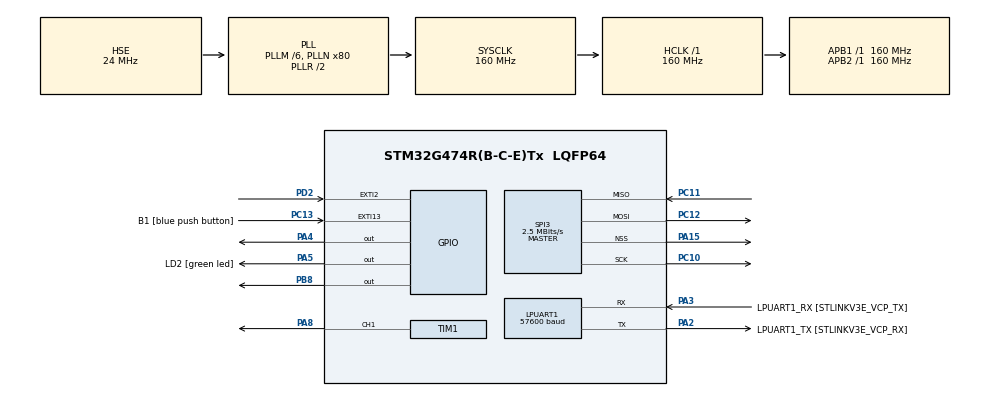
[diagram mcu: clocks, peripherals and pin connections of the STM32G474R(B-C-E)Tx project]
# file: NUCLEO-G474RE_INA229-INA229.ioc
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Dma.Request0=TIM1_CH1
Dma.Request1=SPI3_TX
Dma.Request2=SPI3_RX
Dma.SPI3_RX.2.Direction=DMA_PERIPH_TO_MEMORY
Dma.SPI3_RX.2.EventEnable=DISABLE
Dma.SPI3_RX.2.Instance=DMA1_Channel3
Dma.SPI3_RX.2.MemDataAlignment=DMA_MDATAALIGN_BYTE
Dma.SPI3_RX.2.MemInc=DMA_MINC_ENABLE
Dma.SPI3_RX.2.Mode=DMA_NORMAL
Dma.SPI3_RX.2.PeriphDataAlignment=DMA_PDATAALIGN_BYTE
Dma.SPI3_RX.2.PeriphInc=DMA_PINC_DISABLE
Dma.SPI3_RX.2.Polarity=HAL_DMAMUX_REQ_GEN_RISING
Dma.SPI3_RX.2.Priority=DMA_PRIORITY_HIGH
Dma.SPI3_RX.2.RequestNumber=1
Dma.SPI3_RX.2.SignalID=NONE
Dma.SPI3_RX.2.SyncEnable=DISABLE
Dma.SPI3_RX.2.SyncPolarity=HAL_DMAMUX_SYNC_NO_EVENT
Dma.SPI3_RX.2.SyncRequestNumber=1
Dma.SPI3_RX.2.SyncSignalID=NONE
Dma.SPI3_TX.1.Direction=DMA_MEMORY_TO_PERIPH
Dma.SPI3_TX.1.EventEnable=DISABLE
Dma.SPI3_TX.1.Instance=DMA1_Channel2
Dma.SPI3_TX.1.MemDataAlignment=DMA_MDATAALIGN_BYTE
Dma.SPI3_TX.1.MemInc=DMA_MINC_ENABLE
Dma.SPI3_TX.1.Mode=DMA_NORMAL
Dma.SPI3_TX.1.PeriphDataAlignment=DMA_PDATAALIGN_BYTE
Dma.SPI3_TX.1.PeriphInc=DMA_PINC_DISABLE
Dma.SPI3_TX.1.Polarity=HAL_DMAMUX_REQ_GEN_RISING
Dma.SPI3_TX.1.Priority=DMA_PRIORITY_HIGH
Dma.SPI3_TX.1.RequestNumber=1
Dma.SPI3_TX.1.SignalID=NONE
Dma.SPI3_TX.1.SyncEnable=DISABLE
Dma.SPI3_TX.1.SyncPolarity=HAL_DMAMUX_SYNC_NO_EVENT
Dma.SPI3_TX.1.SyncRequestNumber=1
Dma.SPI3_TX.1.SyncSignalID=NONE
Dma.TIM1_CH1.0.Direction=DMA_PERIPH_TO_MEMORY
Dma.TIM1_CH1.0.EventEnable=DISABLE
Dma.TIM1_CH1.0.Instance=DMA1_Channel1
Dma.TIM1_CH1.0.MemDataAlignment=DMA_MDATAALIGN_HALFWORD
Dma.TIM1_CH1.0.MemInc=DMA_MINC_ENABLE
Dma.TIM1_CH1.0.Mode=DMA_CIRCULAR
Dma.TIM1_CH1.0.PeriphDataAlignment=DMA_PDATAALIGN_HALFWORD
Dma.TIM1_CH1.0.PeriphInc=DMA_PINC_DISABLE
Dma.TIM1_CH1.0.Polarity=HAL_DMAMUX_REQ_GEN_RISING
Dma.TIM1_CH1.0.Priority=DMA_PRIORITY_LOW
Dma.TIM1_CH1.0.RequestNumber=1
Dma.TIM1_CH1.0.SignalID=NONE
Dma.TIM1_CH1.0.SyncEnable=DISABLE
Dma.TIM1_CH1.0.SyncPolarity=HAL_DMAMUX_SYNC_NO_EVENT
Dma.TIM1_CH1.0.SyncRequestNumber=1
Dma.TIM1_CH1.0.SyncSignalID=NONE
LPUART1.BaudRate=57600
LPUART1.WordLength=UART_WORDLENGTH_8B
Mcu.Family=STM32G4
Mcu.Name=STM32G474R(B-C-E)Tx
Mcu.Package=LQFP64
NVIC.DMA1_Channel1_IRQn=true\:0\:0\:false\:false\:true\:false\:true\:true
NVIC.DMA1_Channel2_IRQn=true\:0\:0\:false\:false\:true\:false\:true\:true
NVIC.DMA1_Channel3_IRQn=true\:0\:0\:false\:false\:true\:false\:true\:true
NVIC.EXTI15_10_IRQn=true\:0\:0\:false\:false\:true\:true\:true\:true
NVIC.PriorityGroup=NVIC_PRIORITYGROUP_4
PA13.GPIO_Label=T_SWDIO
PA13.Mode=Trace_Asynchronous_SW
PA13.Signal=SYS_JTMS-SWDIO
PA14.GPIO_Label=T_SWCLK
PA14.Mode=Trace_Asynchronous_SW
PA14.Signal=SYS_JTCK-SWCLK
PA15.Mode=NSS_Signal_Hard_Output
PA15.Signal=SPI3_NSS
PA2.GPIO_Label=LPUART1_TX [STLINKV3E_VCP_RX]
PA2.Mode=Asynchronous
PA2.Signal=LPUART1_TX
PA3.GPIO_Label=LPUART1_RX [STLINKV3E_VCP_TX]
PA3.Mode=Asynchronous
PA3.Signal=LPUART1_RX
PA4.Signal=GPIO_Output
PA5.GPIO_Label=LD2 [green led]
PA5.Signal=GPIO_Output
PA8.Signal=S_TIM1_CH1
PB3.GPIO_Label=T_SWO
PB3.Mode=Trace_Asynchronous_SW
PB3.Signal=SYS_JTDO-SWO
PB8-BOOT0.Signal=GPIO_Output
PC10.Mode=Full_Duplex_Master
PC10.Signal=SPI3_SCK
PC11.Mode=Full_Duplex_Master
PC11.Signal=SPI3_MISO
PC12.Mode=Full_Duplex_Master
PC12.Signal=SPI3_MOSI
PC13.GPIO_Label=B1 [blue push button]
PC13.Signal=GPXTI13
PC14-OSC32_IN.Mode=LSE-External-Oscillator
PC14-OSC32_IN.Signal=RCC_OSC32_IN
PC15-OSC32_OUT.Mode=LSE-External-Oscillator
PC15-OSC32_OUT.Signal=RCC_OSC32_OUT
PD2.GPIO_ModeDefaultEXTI=GPIO_MODE_IT_RISING_FALLING
PD2.Signal=GPXTI2
PF0-OSC_IN.Mode=HSE-External-Oscillator
PF0-OSC_IN.Signal=RCC_OSC_IN
PF1-OSC_OUT.Mode=HSE-External-Oscillator
PF1-OSC_OUT.Signal=RCC_OSC_OUT
ProjectManager.HeapSize=0x200
ProjectManager.StackSize=0x400
ProjectManager.TargetToolchain=STM32CubeIDE
RCC.ADC12Freq_Value=160000000
RCC.ADC345Freq_Value=160000000
RCC.AHBFreq_Value=160000000
RCC.APB1Freq_Value=160000000
RCC.APB1TimFreq_Value=160000000
RCC.APB2Freq_Value=160000000
RCC.APB2TimFreq_Value=160000000
RCC.CortexFreq_Value=160000000
RCC.EXTERNAL_CLOCK_VALUE=12288000
RCC.HCLKFreq_Value=160000000
RCC.HSE_VALUE=24000000
RCC.HSI48_VALUE=48000000
RCC.HSI_VALUE=16000000
RCC.PLLM=RCC_PLLM_DIV6
RCC.PLLN=80
RCC.PLLSourceVirtual=RCC_PLLSOURCE_HSE
RCC.RTCClockSelection=RCC_RTCCLKSOURCE_LSE
RCC.SYSCLKFreq_VALUE=160000000
RCC.SYSCLKSource=RCC_SYSCLKSOURCE_PLLCLK
RCC.USBFreq_Value=160000000
RCC.VCOOutputFreq_Value=320000000
SH.S_TIM1_CH1.0=TIM1_CH1,PWM Generation1 CH1
SPI3.BaudRatePrescaler=SPI_BAUDRATEPRESCALER_64
SPI3.CLKPolarity=SPI_POLARITY_HIGH
SPI3.CalculateBaudRate=2.5 MBits/s
SPI3.DataSize=SPI_DATASIZE_8BIT
SPI3.Direction=SPI_DIRECTION_2LINES
SPI3.Mode=SPI_MODE_MASTER
SPI3.NSSPMode=SPI_NSS_PULSE_DISABLE
SPI3.VirtualNSS=VM_NSSHARD
SPI3.VirtualType=VM_MASTER
TIM1.Channel-PWM\ Generation1\ CH1=TIM_CHANNEL_1
TIM1.PeriodNoDither=1000-1
TIM1.Prescaler=16-1
VP_SYS_VS_DBSignals.Mode=DisableDeadBatterySignals
board=NUCLEO-G474RE

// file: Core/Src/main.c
/* USER CODE BEGIN Header */
/**
 ******************************************************************************
 * @file           : main.c
 * @brief          : Main program body
 ******************************************************************************
 * @attention
 *
 * Copyright (c) 2022 STMicroelectronics.
 * All rights reserved.
 *
 * This software is licensed under terms that can be found in the LICENSE file
 * in the root directory of this software component.
 * If no LICENSE file comes with this software, it is provided AS-IS.
 *
 ******************************************************************************
 */
/* USER CODE END Header */
#include "main.h"

/* USER CODE BEGIN Includes */

#include "ina229.h"
#include "VT_INA229.h"
#include "VT_INA239.h"
#include <stdio.h>

/* USER CODE END Includes */

 UART_HandleTypeDef hlpuart1;

SPI_HandleTypeDef hspi3;
DMA_HandleTypeDef hdma_spi3_tx;
DMA_HandleTypeDef hdma_spi3_rx;

TIM_HandleTypeDef htim1;
DMA_HandleTypeDef hdma_tim1_ch1;

/* USER CODE BEGIN PV */

/* Buffer used for transmission */
uint8_t aTxBuffer[21];

/* Buffer used for reception */
uint8_t aRxBuffer[21];

// for 0V - 160V variable output PWM
volatile uint16_t duty_cycle = 50;

// push button
uint8_t button_pressed = 0;

// SPI transmit data
extern uint8_t INA229_msg_lenght_cntr;
extern uint8_t INA229_send_packet[100], INA229_send_packet_mirror[100];
extern uint8_t INA229_recv_packet[100], INA229_recv_packet_mirror[100];

extern uint8_t INA239_msg_lenght_cntr;
extern uint8_t INA239_send_packet[100], INA239_send_packet_mirror[100];
extern uint8_t INA239_recv_packet[100], INA239_recv_packet_mirror[100];

/* USER CODE END PV */

void SystemClock_Config(void);
static void MX_GPIO_Init(void);
static void MX_LPUART1_UART_Init(void);
static void MX_DMA_Init(void);
static void MX_SPI3_Init(void);
static void MX_TIM1_Init(void);

int main(void)
{

  /* MCU Configuration--------------------------------------------------------*/

  /* Reset of all peripherals, Initializes the Flash interface and the Systick. */
  HAL_Init();

  /* Configure the system clock */
  SystemClock_Config();

  /* Initialize all configured peripherals */
  MX_GPIO_Init();
  MX_LPUART1_UART_Init();
  MX_DMA_Init();
  MX_SPI3_Init();
  MX_TIM1_Init();
  /* USER CODE BEGIN 2 */

	printf("Starting >> NUCLEO-G474RE_INA239_INA229 \n");

	// Opto duty cycle by DMA
	duty_cycle = 100; // div by 10
	if (HAL_TIM_PWM_Start_DMA(&htim1, TIM_CHANNEL_1, (uint32_t *) &duty_cycle, 1) != HAL_OK)
	{
		/* PWM Generation Error */
		while(1)
		{
			HAL_Delay(100);
			HAL_GPIO_TogglePin(GPIOA, GPIO_PIN_5);
		}
	}

	// reset everything
	//	for (uint8_t cntr = 0; cntr < sizeof(INA229_send_packet); cntr++)
	//	{
	//		INA229_send_packet[cntr] = 0xff;
	//		INA229_send_packet_mirror[cntr] = 0;
	//		INA229_recv_packet_mirror[cntr] = 0;
	//		//		printf("INA229_send_packet[%d] = %x \n", cntr , INA229_send_packet[cntr]);
	//	}
	for (uint8_t cntr = 0; cntr < sizeof(INA239_send_packet); cntr++)
	{
		INA239_send_packet[cntr] = 0xff;
		INA239_send_packet_mirror[cntr] = 0;
		INA239_recv_packet_mirror[cntr] = 0;
		//		printf("INA239_send_packet[%d] = %x \n", cntr , INA239_send_packet[cntr]);
	}

	/* Wait for User push-button press before starting the Communication */
	while (!button_pressed)
	{
		HAL_GPIO_TogglePin(GPIOA, GPIO_PIN_5);
		HAL_Delay(100);
	}
	button_pressed = 0; // reset button variable so can be used again

	// reset msg cntr before constructing the message
	//	INA229_msg_lenght_cntr = 0;
	//	VT_INA229_ReadReg(INA229_REG_CONFIG);
	//	VT_INA229_ReadReg(INA229_REG_ADC_CONFIG);
	//	VT_INA229_ReadReg(INA229_REG_SHUNT_CAL);
	//	VT_INA229_ReadReg(INA229_REG_SHUNT_TEMPCO);
	//	VT_INA229_ReadReg(INA229_REG_VSHUNT);
	//	VT_INA229_ReadReg(INA229_REG_VBUS);
	//	VT_INA229_ReadReg(INA229_REG_DIETEMP);
	//	VT_INA229_ReadReg(INA229_REG_CURRENT);
	//	VT_INA229_ReadReg(INA229_REG_POWER);
	//	VT_INA229_ReadReg(INA229_REG_ENERGY);
	//	VT_INA229_ReadReg(INA229_REG_CHARGE);
	//	VT_INA229_ReadReg(INA229_REG_DIAG_ALRT);
	//	VT_INA229_ReadReg(INA229_REG_SOVL);
	//	VT_INA229_ReadReg(INA229_REG_SUVL);
	//	VT_INA229_ReadReg(INA229_REG_BOVL);
	//	VT_INA229_ReadReg(INA229_REG_BUVL);
	//	VT_INA229_ReadReg(INA229_REG_TEMP_LIMIT);
	//	VT_INA229_ReadReg(INA229_REG_PWR_LIMIT);
	//	VT_INA229_ReadReg(INA229_REG_MANUFACTURER_ID);
	//	VT_INA229_ReadReg(INA229_REG_DEVICE_ID);

	// reset msg cntr before constructing the message
	INA239_msg_lenght_cntr = 0;
	VT_INA239_ReadReg(INA239_REG_CONFIG);
	VT_INA239_ReadReg(INA239_REG_ADC_CONFIG);
	VT_INA239_ReadReg(INA239_REG_SHUNT_CAL);
	VT_INA239_ReadReg(INA239_REG_VSHUNT);
	VT_INA239_ReadReg(INA239_REG_VBUS);
	VT_INA239_ReadReg(INA239_REG_DIETEMP);
	VT_INA239_ReadReg(INA239_REG_CURRENT);
	VT_INA239_ReadReg(INA239_REG_POWER);
	VT_INA239_ReadReg(INA239_REG_DIAG_ALRT);
	VT_INA239_ReadReg(INA239_REG_SOVL);
	VT_INA239_ReadReg(INA239_REG_SUVL);
	VT_INA239_ReadReg(INA239_REG_BOVL);
	VT_INA239_ReadReg(INA239_REG_BUVL);
	VT_INA239_ReadReg(INA239_REG_TEMP_LIMIT);
	VT_INA239_ReadReg(INA239_REG_PWR_LIMIT);
	VT_INA239_ReadReg(INA239_REG_MANUFACTURER_ID);
	VT_INA239_ReadReg(INA239_REG_DEVICE_ID);

	for (uint8_t cntr = 0; cntr < INA239_msg_lenght_cntr; cntr++)
	{
		printf("INA239_send_packet[%d] = %x \n", cntr , INA239_send_packet[cntr]);
	}

	// SPI DMA TX-RX
	switch (HAL_SPI_TransmitReceive_DMA(&hspi3, (uint8_t*) INA239_send_packet, (uint8_t*) INA239_recv_packet, INA239_msg_lenght_cntr - 1)) {
	case HAL_OK:
		/* Communication is completed ___________________________________________ */
		break;

	case HAL_TIMEOUT:
		/* An Error Occur ______________________________________________________ */
		printf("SPI HAL_TIMEOUT \n");
	case HAL_ERROR:
		/* Call Timeout Handler */
		printf("SPI HAL_ERROR \n");
		Error_Handler();
		break;
	default:
		break;
	}

	HAL_Delay(5);

	printf("Ending >> NUCLEO-G474RE_INA239_INA229 \n");

  /* USER CODE END 2 */

  /* Infinite loop */
  /* USER CODE BEGIN WHILE */
	while (1) {
		HAL_GPIO_TogglePin(GPIOA, GPIO_PIN_5);
		HAL_Delay(20);
    /* USER CODE END WHILE */

	}
}

void SystemClock_Config(void)
{
  RCC_OscInitTypeDef RCC_OscInitStruct = {0};
  RCC_ClkInitTypeDef RCC_ClkInitStruct = {0};

  /** Configure the main internal regulator output voltage
  */
  HAL_PWREx_ControlVoltageScaling(PWR_REGULATOR_VOLTAGE_SCALE1_BOOST);

  /** Initializes the RCC Oscillators according to the specified parameters
  * in the RCC_OscInitTypeDef structure.
  */
  RCC_OscInitStruct.OscillatorType = RCC_OSCILLATORTYPE_HSE;
  RCC_OscInitStruct.HSEState = RCC_HSE_ON;
  RCC_OscInitStruct.PLL.PLLState = RCC_PLL_ON;
  RCC_OscInitStruct.PLL.PLLSource = RCC_PLLSOURCE_HSE;
  RCC_OscInitStruct.PLL.PLLM = RCC_PLLM_DIV6;
  RCC_OscInitStruct.PLL.PLLN = 80;
  RCC_OscInitStruct.PLL.PLLP = RCC_PLLP_DIV2;
  RCC_OscInitStruct.PLL.PLLQ = RCC_PLLQ_DIV2;
  RCC_OscInitStruct.PLL.PLLR = RCC_PLLR_DIV2;
  if (HAL_RCC_OscConfig(&RCC_OscInitStruct) != HAL_OK)
  {
    Error_Handler();
  }

  /** Initializes the CPU, AHB and APB buses clocks
  */
  RCC_ClkInitStruct.ClockType = RCC_CLOCKTYPE_HCLK|RCC_CLOCKTYPE_SYSCLK
                              |RCC_CLOCKTYPE_PCLK1|RCC_CLOCKTYPE_PCLK2;
  RCC_ClkInitStruct.SYSCLKSource = RCC_SYSCLKSOURCE_PLLCLK;
  RCC_ClkInitStruct.AHBCLKDivider = RCC_SYSCLK_DIV1;
  RCC_ClkInitStruct.APB1CLKDivider = RCC_HCLK_DIV1;
  RCC_ClkInitStruct.APB2CLKDivider = RCC_HCLK_DIV1;

  if (HAL_RCC_ClockConfig(&RCC_ClkInitStruct, FLASH_LATENCY_4) != HAL_OK)
  {
    Error_Handler();
  }
}

static void MX_LPUART1_UART_Init(void)
{

  hlpuart1.Instance = LPUART1;
  hlpuart1.Init.BaudRate = 57600;
  hlpuart1.Init.WordLength = UART_WORDLENGTH_8B;
  hlpuart1.Init.StopBits = UART_STOPBITS_1;
  hlpuart1.Init.Parity = UART_PARITY_NONE;
  hlpuart1.Init.Mode = UART_MODE_TX_RX;
  hlpuart1.Init.HwFlowCtl = UART_HWCONTROL_NONE;
  hlpuart1.Init.OneBitSampling = UART_ONE_BIT_SAMPLE_DISABLE;
  hlpuart1.Init.ClockPrescaler = UART_PRESCALER_DIV1;
  hlpuart1.AdvancedInit.AdvFeatureInit = UART_ADVFEATURE_NO_INIT;
  if (HAL_UART_Init(&hlpuart1) != HAL_OK)
  {
    Error_Handler();
  }
  if (HAL_UARTEx_SetTxFifoThreshold(&hlpuart1, UART_TXFIFO_THRESHOLD_1_8) != HAL_OK)
  {
    Error_Handler();
  }
  if (HAL_UARTEx_SetRxFifoThreshold(&hlpuart1, UART_RXFIFO_THRESHOLD_1_8) != HAL_OK)
  {
    Error_Handler();
  }
  if (HAL_UARTEx_DisableFifoMode(&hlpuart1) != HAL_OK)
  {
    Error_Handler();
  }

}

static void MX_SPI3_Init(void)
{

  /* SPI3 parameter configuration*/
  hspi3.Instance = SPI3;
  hspi3.Init.Mode = SPI_MODE_MASTER;
  hspi3.Init.Direction = SPI_DIRECTION_2LINES;
  hspi3.Init.DataSize = SPI_DATASIZE_8BIT;
  hspi3.Init.CLKPolarity = SPI_POLARITY_HIGH;
  hspi3.Init.CLKPhase = SPI_PHASE_1EDGE;
  hspi3.Init.NSS = SPI_NSS_HARD_OUTPUT;
  hspi3.Init.BaudRatePrescaler = SPI_BAUDRATEPRESCALER_64;
  hspi3.Init.FirstBit = SPI_FIRSTBIT_MSB;
  hspi3.Init.TIMode = SPI_TIMODE_DISABLE;
  hspi3.Init.CRCCalculation = SPI_CRCCALCULATION_DISABLE;
  hspi3.Init.CRCPolynomial = 7;
  hspi3.Init.CRCLength = SPI_CRC_LENGTH_DATASIZE;
  hspi3.Init.NSSPMode = SPI_NSS_PULSE_DISABLE;
  if (HAL_SPI_Init(&hspi3) != HAL_OK)
  {
    Error_Handler();
  }

}

static void MX_TIM1_Init(void)
{

  TIM_MasterConfigTypeDef sMasterConfig = {0};
  TIM_OC_InitTypeDef sConfigOC = {0};
  TIM_BreakDeadTimeConfigTypeDef sBreakDeadTimeConfig = {0};

  htim1.Instance = TIM1;
  htim1.Init.Prescaler = 16-1;
  htim1.Init.CounterMode = TIM_COUNTERMODE_UP;
  htim1.Init.Period = 999;
  htim1.Init.ClockDivision = TIM_CLOCKDIVISION_DIV1;
  htim1.Init.RepetitionCounter = 0;
  htim1.Init.AutoReloadPreload = TIM_AUTORELOAD_PRELOAD_DISABLE;
  if (HAL_TIM_PWM_Init(&htim1) != HAL_OK)
  {
    Error_Handler();
  }
  sMasterConfig.MasterOutputTrigger = TIM_TRGO_RESET;
  sMasterConfig.MasterOutputTrigger2 = TIM_TRGO2_RESET;
  sMasterConfig.MasterSlaveMode = TIM_MASTERSLAVEMODE_DISABLE;
  if (HAL_TIMEx_MasterConfigSynchronization(&htim1, &sMasterConfig) != HAL_OK)
  {
    Error_Handler();
  }
  sConfigOC.OCMode = TIM_OCMODE_PWM1;
  sConfigOC.Pulse = 0;
  sConfigOC.OCPolarity = TIM_OCPOLARITY_HIGH;
  sConfigOC.OCNPolarity = TIM_OCNPOLARITY_HIGH;
  sConfigOC.OCFastMode = TIM_OCFAST_DISABLE;
  sConfigOC.OCIdleState = TIM_OCIDLESTATE_RESET;
  sConfigOC.OCNIdleState = TIM_OCNIDLESTATE_RESET;
  if (HAL_TIM_PWM_ConfigChannel(&htim1, &sConfigOC, TIM_CHANNEL_1) != HAL_OK)
  {
    Error_Handler();
  }
  sBreakDeadTimeConfig.OffStateRunMode = TIM_OSSR_DISABLE;
  sBreakDeadTimeConfig.OffStateIDLEMode = TIM_OSSI_DISABLE;
  sBreakDeadTimeConfig.LockLevel = TIM_LOCKLEVEL_OFF;
  sBreakDeadTimeConfig.DeadTime = 0;
  sBreakDeadTimeConfig.BreakState = TIM_BREAK_DISABLE;
  sBreakDeadTimeConfig.BreakPolarity = TIM_BREAKPOLARITY_HIGH;
  sBreakDeadTimeConfig.BreakFilter = 0;
  sBreakDeadTimeConfig.BreakAFMode = TIM_BREAK_AFMODE_INPUT;
  sBreakDeadTimeConfig.Break2State = TIM_BREAK2_DISABLE;
  sBreakDeadTimeConfig.Break2Polarity = TIM_BREAK2POLARITY_HIGH;
  sBreakDeadTimeConfig.Break2Filter = 0;
  sBreakDeadTimeConfig.Break2AFMode = TIM_BREAK_AFMODE_INPUT;
  sBreakDeadTimeConfig.AutomaticOutput = TIM_AUTOMATICOUTPUT_DISABLE;
  if (HAL_TIMEx_ConfigBreakDeadTime(&htim1, &sBreakDeadTimeConfig) != HAL_OK)
  {
    Error_Handler();
  }
  HAL_TIM_MspPostInit(&htim1);

}

static void MX_DMA_Init(void)
{

  /* DMA controller clock enable */
  __HAL_RCC_DMAMUX1_CLK_ENABLE();
  __HAL_RCC_DMA1_CLK_ENABLE();

  /* DMA interrupt init */
  /* DMA1_Channel1_IRQn interrupt configuration */
  HAL_NVIC_SetPriority(DMA1_Channel1_IRQn, 0, 0);
  HAL_NVIC_EnableIRQ(DMA1_Channel1_IRQn);
  /* DMA1_Channel2_IRQn interrupt configuration */
  HAL_NVIC_SetPriority(DMA1_Channel2_IRQn, 0, 0);
  HAL_NVIC_EnableIRQ(DMA1_Channel2_IRQn);
  /* DMA1_Channel3_IRQn interrupt configuration */
  HAL_NVIC_SetPriority(DMA1_Channel3_IRQn, 0, 0);
  HAL_NVIC_EnableIRQ(DMA1_Channel3_IRQn);

}

static void MX_GPIO_Init(void)
{
  GPIO_InitTypeDef GPIO_InitStruct = {0};

  /* GPIO Ports Clock Enable */
  __HAL_RCC_GPIOC_CLK_ENABLE();
  __HAL_RCC_GPIOF_CLK_ENABLE();
  __HAL_RCC_GPIOA_CLK_ENABLE();
  __HAL_RCC_GPIOD_CLK_ENABLE();
  __HAL_RCC_GPIOB_CLK_ENABLE();

  /*Configure GPIO pin Output Level */
  HAL_GPIO_WritePin(GPIOA, GPIO_PIN_4|LD2_Pin, GPIO_PIN_RESET);

  /*Configure GPIO pin Output Level */
  HAL_GPIO_WritePin(GPIOB, GPIO_PIN_8, GPIO_PIN_RESET);

  /*Configure GPIO pin : B1_Pin */
  GPIO_InitStruct.Pin = B1_Pin;
  GPIO_InitStruct.Mode = GPIO_MODE_IT_RISING;
  GPIO_InitStruct.Pull = GPIO_NOPULL;
  HAL_GPIO_Init(B1_GPIO_Port, &GPIO_InitStruct);

  /*Configure GPIO pins : PA4 LD2_Pin */
  GPIO_InitStruct.Pin = GPIO_PIN_4|LD2_Pin;
  GPIO_InitStruct.Mode = GPIO_MODE_OUTPUT_PP;
  GPIO_InitStruct.Pull = GPIO_NOPULL;
  GPIO_InitStruct.Speed = GPIO_SPEED_FREQ_LOW;
  HAL_GPIO_Init(GPIOA, &GPIO_InitStruct);

  /*Configure GPIO pin : PD2 */
  GPIO_InitStruct.Pin = GPIO_PIN_2;
  GPIO_InitStruct.Mode = GPIO_MODE_IT_RISING_FALLING;
  GPIO_InitStruct.Pull = GPIO_NOPULL;
  HAL_GPIO_Init(GPIOD, &GPIO_InitStruct);

  /*Configure GPIO pin : PB8 */
  GPIO_InitStruct.Pin = GPIO_PIN_8;
  GPIO_InitStruct.Mode = GPIO_MODE_OUTPUT_PP;
  GPIO_InitStruct.Pull = GPIO_NOPULL;
  GPIO_InitStruct.Speed = GPIO_SPEED_FREQ_LOW;
  HAL_GPIO_Init(GPIOB, &GPIO_InitStruct);

  /* EXTI interrupt init*/
  HAL_NVIC_SetPriority(EXTI15_10_IRQn, 0, 0);
  HAL_NVIC_EnableIRQ(EXTI15_10_IRQn);

}

/* USER CODE BEGIN 4 */

void HAL_GPIO_EXTI_Callback(uint16_t GPIO_Pin)
{
	/* Prevent unused argument(s) compilation warning */
	UNUSED(GPIO_Pin);

	/* NOTE: This function should not be modified, when the callback is needed,
           the HAL_GPIO_EXTI_Callback could be implemented in the user file
	 */

	button_pressed = 1;

	HAL_GPIO_TogglePin(GPIOB, GPIO_PIN_8);

	aTxBuffer[0] = (INA229_REG_DIAG_ALRT << 2) + 1;
	aTxBuffer[1] = 0;
	aTxBuffer[2] = 0;

	switch (HAL_SPI_TransmitReceive_DMA(&hspi3, (uint8_t*) aTxBuffer, (uint8_t*) aRxBuffer, 3)) {
	case HAL_OK:
		/* Communication is completed ___________________________________________ */
		HAL_GPIO_WritePin(GPIOA, GPIO_PIN_5, SET);
		//		HAL_Delay(500); // will cause hang
		HAL_GPIO_WritePin(GPIOA, GPIO_PIN_5, RESET);
		break;

	case HAL_TIMEOUT:
		/* An Error Occur ______________________________________________________ */
		HAL_GPIO_WritePin(GPIOA, GPIO_PIN_5, SET);
		//		HAL_Delay(500);
		HAL_GPIO_WritePin(GPIOA, GPIO_PIN_5, RESET);
	case HAL_ERROR:
		/* Call Timeout Handler */
		Error_Handler();
		break;
	default:
		break;
	}

}

void HAL_SPI_RxCpltCallback(SPI_HandleTypeDef *hspi)
{
	/* Prevent unused argument(s) compilation warning */
	UNUSED(hspi);

	/* NOTE : This function should not be modified, when the callback is needed,
            the HAL_SPI_RxCpltCallback should be implemented in the user file
	 */

	printf("HAL_SPI_RxCpltCallback \n");

}

void HAL_SPI_TxRxCpltCallback(SPI_HandleTypeDef *hspi)
{
	/* Prevent unused argument(s) compilation warning */
	UNUSED(hspi);

	/* NOTE : This function should not be modified, when the callback is needed,
            the HAL_SPI_RxCpltCallback should be implemented in the user file
	 */

	printf("HAL_SPI_TxRxCpltCallback \n");

	for (uint8_t cntr = 0; cntr < INA239_msg_lenght_cntr; cntr++)
	{
		printf("INA239_recv_packet[%d] = %x \n", cntr , INA239_recv_packet[cntr]);
	}

}

void HAL_SPI_RxHalfCpltCallback(SPI_HandleTypeDef *hspi)
{
	/* Prevent unused argument(s) compilation warning */
	UNUSED(hspi);

	/* NOTE : This function should not be modified, when the callback is needed,
            the HAL_SPI_RxCpltCallback should be implemented in the user file
	 */

	printf("HAL_SPI_RxHalfCpltCallback \n");

}

/* USER CODE END 4 */

void Error_Handler(void)
{
  /* USER CODE BEGIN Error_Handler_Debug */
	/* User can add his own implementation to report the HAL error return state */
	printf("Error_Handler \n");
	HAL_GPIO_WritePin(GPIOA, GPIO_PIN_5, SET);
	__disable_irq();
	while (1) {
	}
  /* USER CODE END Error_Handler_Debug */
}
